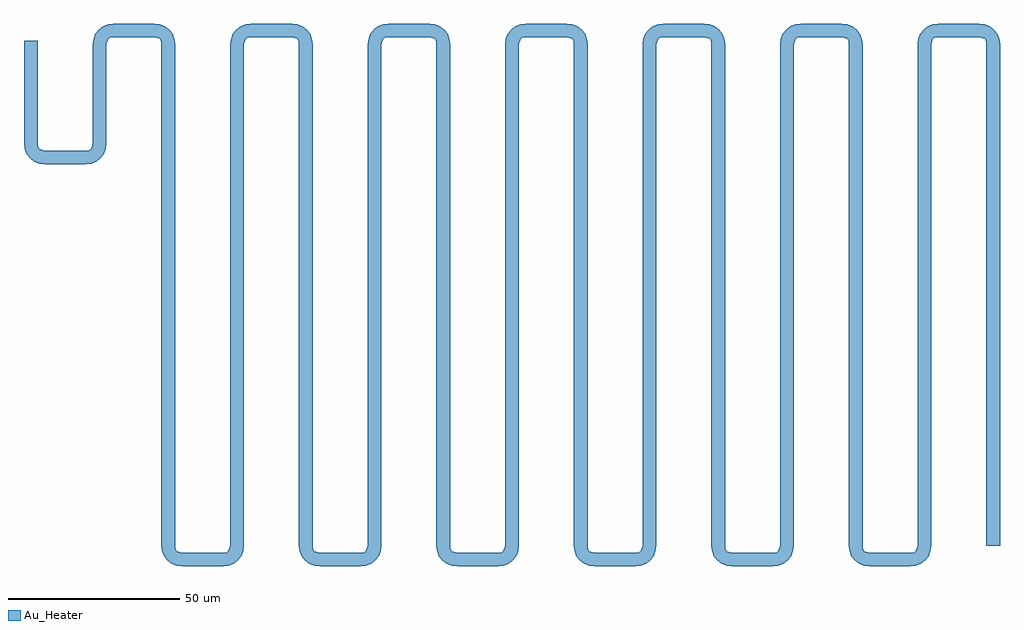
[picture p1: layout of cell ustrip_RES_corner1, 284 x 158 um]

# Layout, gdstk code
import gdstk
lib = gdstk.Library(unit=1e-6, precision=1e-09)
def R(c, l, rs):  # rectangles x0, y0, x1, y1
    for r in rs: c.add(gdstk.rectangle(r[:2], r[2:], *l))
def A(c, l, x, y, w, h, nx, ny, dx, dy):  # array of equal rectangles
    R(c, l, [(x+i*dx, y+j*dy, x+i*dx+w, y+j*dy+h) for i in range(nx) for j in range(ny)])
def P(c, l, *ps):  # polygons
    for p in ps: c.add(gdstk.Polygon(p, *l))
Au_Heater = (9, 0)

ustrip_res_corner1 = lib.new_cell('ustrip_RES_corner1')
A(ustrip_res_corner1, Au_Heater, -96, -79, 12, 4, 6, 1, 40, 0)
A(ustrip_res_corner1, Au_Heater, -102, -73, 4, 146, 13, 1, 20, 0)
A(ustrip_res_corner1, Au_Heater, -116, 75, 12, 4, 7, 1, 40, 0)
R(ustrip_res_corner1, Au_Heater, [(-136,38,-124,42), (-142,44,-138,74), (-122,44,-118,73)])
P(ustrip_res_corner1, Au_Heater, [(138,73),(138,73.75),(137.5,74.5),(136,75),(136,79),(137.5,78.75),(139,78.25),(140.25,77.25),(141.25,76),(141.75,74.5),(142,73)],
  [(118,73),(118.25,74.5),(118.75,76),(119.75,77.25),(121,78.25),(122.5,78.75),(124,79),(124,75),(123.25,75),(122.5,74.5),(122,73)],
  [(116,-79),(116,-75),(116.75,-75),(117.5,-74.5),(118,-73),(122,-73),(121.75,-74.5),(121.25,-76),(120.25,-77.25),(119,-78.25),(117.5,-78.75)],
  [(104,-79),(102.5,-78.75),(101,-78.25),(99.75,-77.25),(98.75,-76),(98.25,-74.5),(98,-73),(102,-73),(102,-73.75),(102.5,-74.5),(104,-75)],
  [(98,73),(98,73.75),(97.5,74.5),(96,75),(96,79),(97.5,78.75),(99,78.25),(100.25,77.25),(101.25,76),(101.75,74.5),(102,73)],
  [(78,73),(78.25,74.5),(78.75,76),(79.75,77.25),(81,78.25),(82.5,78.75),(84,79),(84,75),(83.25,75),(82.5,74.5),(82,73)],
  [(76,-79),(76,-75),(76.75,-75),(77.5,-74.5),(78,-73),(82,-73),(81.75,-74.5),(81.25,-76),(80.25,-77.25),(79,-78.25),(77.5,-78.75)],
  [(64,-79),(62.5,-78.75),(61,-78.25),(59.75,-77.25),(58.75,-76),(58.25,-74.5),(58,-73),(62,-73),(62,-73.75),(62.5,-74.5),(64,-75)],
  [(58,73),(58,73.75),(57.5,74.5),(56,75),(56,79),(57.5,78.75),(59,78.25),(60.25,77.25),(61.25,76),(61.75,74.5),(62,73)],
  [(38,73),(38.25,74.5),(38.75,76),(39.75,77.25),(41,78.25),(42.5,78.75),(44,79),(44,75),(43.25,75),(42.5,74.5),(42,73)],
  [(36,-79),(36,-75),(36.75,-75),(37.5,-74.5),(38,-73),(42,-73),(41.75,-74.5),(41.25,-76),(40.25,-77.25),(39,-78.25),(37.5,-78.75)],
  [(24,-79),(22.5,-78.75),(21,-78.25),(19.75,-77.25),(18.75,-76),(18.25,-74.5),(18,-73),(22,-73),(22,-73.75),(22.5,-74.5),(24,-75)],
  [(18,73),(18,73.75),(17.5,74.5),(16,75),(16,79),(17.5,78.75),(19,78.25),(20.25,77.25),(21.25,76),(21.75,74.5),(22,73)],
  [(-2,73),(-1.75,74.5),(-1.25,76),(-0.25,77.25),(1,78.25),(2.5,78.75),(4,79),(4,75),(3.25,75),(2.5,74.5),(2,73)],
  [(-4,-79),(-4,-75),(-3.25,-75),(-2.5,-74.5),(-2,-73),(2,-73),(1.75,-74.5),(1.25,-76),(0.25,-77.25),(-1,-78.25),(-2.5,-78.75)],
  [(-16,-79),(-17.5,-78.75),(-19,-78.25),(-20.25,-77.25),(-21.25,-76),(-21.75,-74.5),(-22,-73),(-18,-73),(-18,-73.75),(-17.5,-74.5),(-16,-75)],
  [(-22,73),(-22,73.75),(-22.5,74.5),(-24,75),(-24,79),(-22.5,78.75),(-21,78.25),(-19.75,77.25),(-18.75,76),(-18.25,74.5),(-18,73)],
  [(-42,73),(-41.75,74.5),(-41.25,76),(-40.25,77.25),(-39,78.25),(-37.5,78.75),(-36,79),(-36,75),(-36.75,75),(-37.5,74.5),(-38,73)],
  [(-44,-79),(-44,-75),(-43.25,-75),(-42.5,-74.5),(-42,-73),(-38,-73),(-38.25,-74.5),(-38.75,-76),(-39.75,-77.25),(-41,-78.25),(-42.5,-78.75)],
  [(-56,-79),(-57.5,-78.75),(-59,-78.25),(-60.25,-77.25),(-61.25,-76),(-61.75,-74.5),(-62,-73),(-58,-73),(-58,-73.75),(-57.5,-74.5),(-56,-75)],
  [(-62,73),(-62,73.75),(-62.5,74.5),(-64,75),(-64,79),(-62.5,78.75),(-61,78.25),(-59.75,77.25),(-58.75,76),(-58.25,74.5),(-58,73)],
  [(-82,73),(-81.75,74.5),(-81.25,76),(-80.25,77.25),(-79,78.25),(-77.5,78.75),(-76,79),(-76,75),(-76.75,75),(-77.5,74.5),(-78,73)],
  [(-84,-79),(-84,-75),(-83.25,-75),(-82.5,-74.5),(-82,-73),(-78,-73),(-78.25,-74.5),(-78.75,-76),(-79.75,-77.25),(-81,-78.25),(-82.5,-78.75)],
  [(-96,-79),(-97.5,-78.75),(-99,-78.25),(-100.25,-77.25),(-101.25,-76),(-101.75,-74.5),(-102,-73),(-98,-73),(-98,-73.75),(-97.5,-74.5),(-96,-75)],
  [(-102,73),(-102,73.75),(-102.5,74.5),(-104,75),(-104,79),(-102.5,78.75),(-101,78.25),(-99.75,77.25),(-98.75,76),(-98.25,74.5),(-98,73)],
  [(-122,73),(-121.75,74.5),(-121.25,76),(-120.25,77.25),(-119,78.25),(-117.5,78.75),(-116,79),(-116,75),(-116.75,75),(-117.5,74.5),(-118,73)],
  [(-124,38),(-124,42),(-123.25,42),(-122.5,42.5),(-122,44),(-118,44),(-118.25,42.5),(-118.75,41),(-119.75,39.75),(-121,38.75),(-122.5,38.25)],
  [(-136,38),(-137.5,38.25),(-139,38.75),(-140.25,39.75),(-141.25,41),(-141.75,42.5),(-142,44),(-138,44),(-138,43.25),(-137.5,42.5),(-136,42)])

lib.write_gds('ustrip_RES_corner1.gds')
